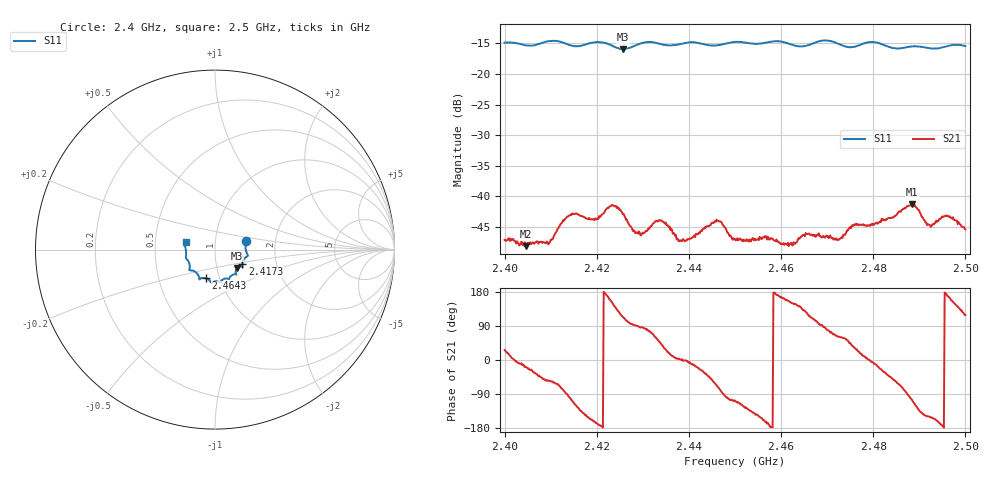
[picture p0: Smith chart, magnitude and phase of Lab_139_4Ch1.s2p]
# Hz S RI R 50
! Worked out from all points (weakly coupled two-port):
!   601 points, 2.4 GHz to 2.5 GHz, reference 50 ohm
!   highest |S21| = -41.28 dB at 2.4883 GHz (marker M1); lowest = -48.2 dB at 2.4047 GHz (marker M2)
!   lowest |S11| = -15.9 dB at 2.4257 GHz (marker M3), VSWR 1.38, Z = 62.5 - j13.1 ohm
!   |S11| at or under -10 dB: start of sweep to end of sweep
!   S12 and S22 are empty: the file has one direction only
!   S11 on the Smith chart (normalised r, x): 2.4 GHz: 1.41, +0.14; 2.4173 GHz: 1.34, -0.23; 2.4643 GHz: 0.86, -0.28; 2.5 GHz: 0.72, +0.06
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2.4e9  0.1733 0.0489  0.00394 0.00196  0 0  0 0
2.404667e9  0.1704 0.0175  0.00369 -0.00128  0 0  0 0
2.409333e9  0.1824 -0.0302  0.00242 -0.00341  0 0  0 0
2.413833e9  0.1675 -0.0457  -0.000687 -0.00685  0 0  0 0
2.416667e9  0.153 -0.0749  -0.00485 -0.00488  0 0  0 0
2.417333e9  0.1522 -0.0824  -0.00541 -0.00404  0 0  0 0
2.4235e9  0.1408 -0.0938  -0.0072 0.00442  0 0  0 0
2.425667e9  0.1226 -0.102  -0.00288 0.00654  0 0  0 0
2.429333e9  0.1165 -0.1332  0.00033 0.005  0 0  0 0
2.433333e9  0.113 -0.137  0.00391 0.00496  0 0  0 0
2.438e9  0.0825 -0.1546  0.00436 0.000127  0 0  0 0
2.446167e9  0.0465 -0.1652  0.00223 -0.00592  0 0  0 0
2.45e9  0.0293 -0.1807  -0.00134 -0.00427  0 0  0 0
2.464333e9  -0.05 -0.1603  -0.00352 0.00309  0 0  0 0
2.466667e9  -0.0757 -0.1592  -0.00179 0.00451  0 0  0 0
2.472333e9  -0.0885 -0.1536  0.00213 0.00388  0 0  0 0
2.475833e9  -0.1147 -0.1209  0.0048 0.00321  0 0  0 0
2.483333e9  -0.1407 -0.0897  0.00496 -0.00445  0 0  0 0
2.488333e9  -0.1607 -0.049  -0.00209 -0.00838  0 0  0 0
2.492167e9  -0.1608 -0.0238  -0.00502 -0.00297  0 0  0 0
2.496167e9  -0.168 0.0205  -0.00679 0.00139  0 0  0 0
2.5e9  -0.1636 0.042  -0.00255 0.00472  0 0  0 0
